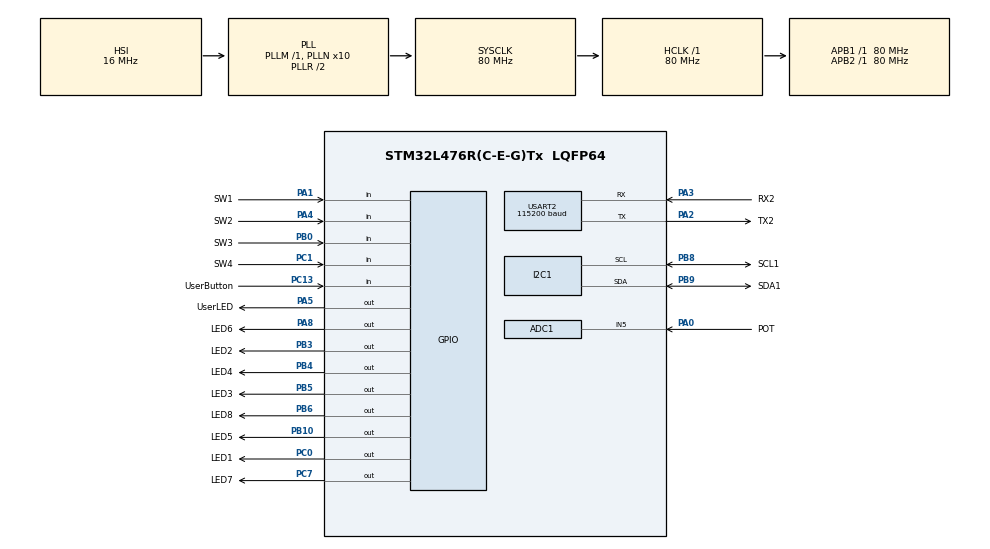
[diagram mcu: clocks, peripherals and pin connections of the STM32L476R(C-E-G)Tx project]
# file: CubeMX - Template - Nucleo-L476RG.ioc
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ADC1.Channel-0\#ChannelRegularConversion=ADC_CHANNEL_5
ADC1.NbrOfConversionFlag=1
ADC1.OffsetNumber-0\#ChannelRegularConversion=ADC_OFFSET_NONE
ADC1.Overrun=ADC_OVR_DATA_OVERWRITTEN
ADC1.Rank-0\#ChannelRegularConversion=1
ADC1.Resolution=ADC_RESOLUTION_12B
ADC1.SamplingTime-0\#ChannelRegularConversion=ADC_SAMPLETIME_2CYCLES_5
ADC1.master=1
I2C1.Analog_Filter=I2C_ANALOGFILTER_ENABLE
I2C1.CustomTiming=Disabled
I2C1.Timing=0x00303D5B
Mcu.Family=STM32L4
Mcu.Name=STM32L476R(C-E-G)Tx
Mcu.Package=LQFP64
NVIC.I2C1_EV_IRQn=true\:0\:0\:false\:false\:true\:true\:true\:true
NVIC.PriorityGroup=NVIC_PRIORITYGROUP_4
PA0.GPIO_Label=POT
PA0.Signal=ADCx_IN5
PA1.GPIO_Label=SW1
PA1.Signal=GPIO_Input
PA13\ (JTMS-SWDIO).GPIO_Label=TMS
PA13\ (JTMS-SWDIO).Mode=Serial_Wire
PA13\ (JTMS-SWDIO).Signal=SYS_JTMS-SWDIO
PA14\ (JTCK-SWCLK).GPIO_Label=TCK
PA14\ (JTCK-SWCLK).Mode=Serial_Wire
PA14\ (JTCK-SWCLK).Signal=SYS_JTCK-SWCLK
PA2.GPIO_Label=TX2
PA2.GPIO_Mode=GPIO_MODE_AF_PP
PA2.GPIO_PuPd=GPIO_NOPULL
PA2.GPIO_Speed=GPIO_SPEED_FREQ_VERY_HIGH
PA2.Mode=Asynchronous
PA2.Signal=USART2_TX
PA3.GPIO_Label=RX2
PA3.GPIO_Mode=GPIO_MODE_AF_PP
PA3.GPIO_PuPd=GPIO_NOPULL
PA3.GPIO_Speed=GPIO_SPEED_FREQ_VERY_HIGH
PA3.Mode=Asynchronous
PA3.Signal=USART2_RX
PA4.GPIO_Label=SW2
PA4.Signal=GPIO_Input
PA5.GPIO_Label=UserLED
PA5.GPIO_ModeDefaultOutputPP=GPIO_MODE_OUTPUT_PP
PA5.GPIO_PuPd=GPIO_NOPULL
PA5.GPIO_Speed=GPIO_SPEED_FREQ_LOW
PA5.Signal=GPIO_Output
PA8.GPIO_Label=LED6
PA8.Signal=GPIO_Output
PB0.GPIO_Label=SW3
PB0.Signal=GPIO_Input
PB10.GPIO_Label=LED5
PB10.Signal=GPIO_Output
PB3\ (JTDO-TRACESWO).GPIO_Label=LED2
PB3\ (JTDO-TRACESWO).Signal=GPIO_Output
PB4\ (NJTRST).GPIO_Label=LED4
PB4\ (NJTRST).Signal=GPIO_Output
PB5.GPIO_Label=LED3
PB5.Signal=GPIO_Output
PB6.GPIO_Label=LED8
PB6.Signal=GPIO_Output
PB8.GPIO_Label=SCL1
PB8.Mode=I2C
PB8.Signal=I2C1_SCL
PB9.GPIO_Label=SDA1
PB9.Mode=I2C
PB9.Signal=I2C1_SDA
PC0.GPIO_Label=LED1
PC0.Signal=GPIO_Output
PC1.GPIO_Label=SW4
PC1.Signal=GPIO_Input
PC13.GPIO_Label=UserButton
PC13.Signal=GPIO_Input
PC7.GPIO_Label=LED7
PC7.Signal=GPIO_Output
ProjectManager.HeapSize=0x200
ProjectManager.StackSize=0x400
ProjectManager.TargetToolchain=MDK-ARM V5.32
RCC.ADCFreq_Value=64000000
RCC.AHBFreq_Value=80000000
RCC.APB1Freq_Value=80000000
RCC.APB1TimFreq_Value=80000000
RCC.APB2Freq_Value=80000000
RCC.APB2TimFreq_Value=80000000
RCC.CortexFreq_Value=80000000
RCC.HCLKFreq_Value=80000000
RCC.HSE_VALUE=8000000
RCC.HSI_VALUE=16000000
RCC.I2C1CLockSelection=RCC_I2C1CLKSOURCE_HSI
RCC.LSE_VALUE=32768
RCC.MSI_VALUE=4000000
RCC.PLLN=10
RCC.PLLSourceVirtual=RCC_PLLSOURCE_HSI
RCC.PREFETCH_ENABLE=1
RCC.SYSCLKFreq_VALUE=80000000
RCC.SYSCLKSource=RCC_SYSCLKSOURCE_PLLCLK
RCC.USBFreq_Value=64000000
RCC.VCOOutputFreq_Value=160000000
SH.ADCx_IN5.0=ADC1_IN5,IN5-Single-Ended
USART2.BaudRate=115200
USART2.OverrunDisableParam=ADVFEATURE_OVERRUN_DISABLE
USART2.VirtualMode-Asynchronous=VM_ASYNC
board=NUCLEO-L476RG

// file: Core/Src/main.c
/* USER CODE BEGIN Header */
/**
  ******************************************************************************
  * @file           : main.c
  * @brief          : Main program body
  ******************************************************************************
  * @attention
  *
  * Copyright (c) 2023 STMicroelectronics.
  * All rights reserved.
  *
  * This software is licensed under terms that can be found in the LICENSE file
  * in the root directory of this software component.
  * If no LICENSE file comes with this software, it is provided AS-IS.
  *
  ******************************************************************************
  */
	// Versie: 20252026
/* USER CODE END Header */
#include "main.h"

/* USER CODE BEGIN Includes */
#include "leds.h"
#include "buttons.h"
#include "usart2.h"
#include "ad.h"
#include "stdio.h"
#include "mpu9250.h"
/* USER CODE END Includes */

ADC_HandleTypeDef hadc1;

I2C_HandleTypeDef hi2c1;

UART_HandleTypeDef huart2;

/* USER CODE BEGIN PV */
static volatile bool dmaCompleted = false;
static Mpu9250 sensordata;
volatile uint8_t i2cDataGyroAcc[GYRO_ACC_NUMBER_OF_BYTES_TO_RECEIVE];
volatile uint8_t i2cDataMagn[MAGN_NUMBER_OF_BYTES_TO_RECEIVE];
/* USER CODE END PV */

void SystemClock_Config(void);
static void MX_GPIO_Init(void);
static void MX_ADC1_Init(void);
static void MX_USART2_UART_Init(void);
static void MX_I2C1_Init(void);

int main(void)
{

  /* MCU Configuration--------------------------------------------------------*/

  /* Reset of all peripherals, Initializes the Flash interface and the Systick. */
  HAL_Init();

  /* Configure the system clock */
  SystemClock_Config();

  /* Initialize all configured peripherals */
  MX_GPIO_Init();
  MX_ADC1_Init();
  MX_USART2_UART_Init();
  MX_I2C1_Init();
  /* USER CODE BEGIN 2 */
	// IMU initialiseren.
	InitMpu9250(&hi2c1);

	// Laten weten dat we opgestart zijn, via de USART2 (USB).
	printf("Reboot\r\n");

	// MERK OP: om met HAL I�C en DMA te kunnen werken, moet in STM32CubeMX 'I2C1 event interrupt' aangevinkt staan!
	// Anders wordt HAL_I2C_MasterRxCpltCallback() niet opgeroepen.

	// Who am I opvragen via polling.
	printf("MPU9250 who am I: %d.\r\n", WhoAmIMpu9250(&hi2c1));

	// Magnetometer device ID opvragen via polling.
	printf("Magnetometer device ID: %d.\r\n", ReadIdAK8963(&hi2c1));

  /* USER CODE END 2 */

  /* Infinite loop */
  /* USER CODE BEGIN WHILE */
  while (1)
  {
		// Accelerometer, gyroscoop en magnetometer uitlezen via polling.
		sensordata = ReadMpu9250(&hi2c1);

		// JSON dumpen op UART2.
		printf("{\"accx\":%d,\"accy\":%d,\"accz\":%d,\"gyrox\":%d,\"gyroy\":%d,\"gyroz\":%d,"
								"\"magnx\":%d,\"magny\":%d,\"magnz\":%d}\r\n",
						sensordata.accX, sensordata.accY, sensordata.accZ, sensordata.gyroX, sensordata.gyroY,
							sensordata.gyroZ, sensordata.magnX, sensordata.magnY, sensordata.magnZ);

		// Teken van leven geven.
		ToggleLed(8);

		// Even wachten. Uitlezen van de I�C-bus duurt ongeveer 2,5ms (2 + 14 + 2 + 7 bytes).
		HAL_Delay(20);

    /* USER CODE END WHILE */

  }
}

void SystemClock_Config(void)
{
  RCC_OscInitTypeDef RCC_OscInitStruct = {0};
  RCC_ClkInitTypeDef RCC_ClkInitStruct = {0};

  /** Configure the main internal regulator output voltage
  */
  if (HAL_PWREx_ControlVoltageScaling(PWR_REGULATOR_VOLTAGE_SCALE1) != HAL_OK)
  {
    Error_Handler();
  }

  /** Initializes the RCC Oscillators according to the specified parameters
  * in the RCC_OscInitTypeDef structure.
  */
  RCC_OscInitStruct.OscillatorType = RCC_OSCILLATORTYPE_HSI;
  RCC_OscInitStruct.HSIState = RCC_HSI_ON;
  RCC_OscInitStruct.HSICalibrationValue = RCC_HSICALIBRATION_DEFAULT;
  RCC_OscInitStruct.PLL.PLLState = RCC_PLL_ON;
  RCC_OscInitStruct.PLL.PLLSource = RCC_PLLSOURCE_HSI;
  RCC_OscInitStruct.PLL.PLLM = 1;
  RCC_OscInitStruct.PLL.PLLN = 10;
  RCC_OscInitStruct.PLL.PLLP = RCC_PLLP_DIV7;
  RCC_OscInitStruct.PLL.PLLQ = RCC_PLLQ_DIV2;
  RCC_OscInitStruct.PLL.PLLR = RCC_PLLR_DIV2;
  if (HAL_RCC_OscConfig(&RCC_OscInitStruct) != HAL_OK)
  {
    Error_Handler();
  }

  /** Initializes the CPU, AHB and APB buses clocks
  */
  RCC_ClkInitStruct.ClockType = RCC_CLOCKTYPE_HCLK|RCC_CLOCKTYPE_SYSCLK
                              |RCC_CLOCKTYPE_PCLK1|RCC_CLOCKTYPE_PCLK2;
  RCC_ClkInitStruct.SYSCLKSource = RCC_SYSCLKSOURCE_PLLCLK;
  RCC_ClkInitStruct.AHBCLKDivider = RCC_SYSCLK_DIV1;
  RCC_ClkInitStruct.APB1CLKDivider = RCC_HCLK_DIV1;
  RCC_ClkInitStruct.APB2CLKDivider = RCC_HCLK_DIV1;

  if (HAL_RCC_ClockConfig(&RCC_ClkInitStruct, FLASH_LATENCY_4) != HAL_OK)
  {
    Error_Handler();
  }
}

static void MX_ADC1_Init(void)
{

  ADC_MultiModeTypeDef multimode = {0};
  ADC_ChannelConfTypeDef sConfig = {0};

  /** Common config
  */
  hadc1.Instance = ADC1;
  hadc1.Init.ClockPrescaler = ADC_CLOCK_ASYNC_DIV1;
  hadc1.Init.Resolution = ADC_RESOLUTION_12B;
  hadc1.Init.DataAlign = ADC_DATAALIGN_RIGHT;
  hadc1.Init.ScanConvMode = ADC_SCAN_DISABLE;
  hadc1.Init.EOCSelection = ADC_EOC_SINGLE_CONV;
  hadc1.Init.LowPowerAutoWait = DISABLE;
  hadc1.Init.ContinuousConvMode = DISABLE;
  hadc1.Init.NbrOfConversion = 1;
  hadc1.Init.DiscontinuousConvMode = DISABLE;
  hadc1.Init.ExternalTrigConv = ADC_SOFTWARE_START;
  hadc1.Init.ExternalTrigConvEdge = ADC_EXTERNALTRIGCONVEDGE_NONE;
  hadc1.Init.DMAContinuousRequests = DISABLE;
  hadc1.Init.Overrun = ADC_OVR_DATA_OVERWRITTEN;
  hadc1.Init.OversamplingMode = DISABLE;
  if (HAL_ADC_Init(&hadc1) != HAL_OK)
  {
    Error_Handler();
  }

  /** Configure the ADC multi-mode
  */
  multimode.Mode = ADC_MODE_INDEPENDENT;
  if (HAL_ADCEx_MultiModeConfigChannel(&hadc1, &multimode) != HAL_OK)
  {
    Error_Handler();
  }

  /** Configure Regular Channel
  */
  sConfig.Channel = ADC_CHANNEL_5;
  sConfig.Rank = ADC_REGULAR_RANK_1;
  sConfig.SamplingTime = ADC_SAMPLETIME_2CYCLES_5;
  sConfig.SingleDiff = ADC_SINGLE_ENDED;
  sConfig.OffsetNumber = ADC_OFFSET_NONE;
  sConfig.Offset = 0;
  if (HAL_ADC_ConfigChannel(&hadc1, &sConfig) != HAL_OK)
  {
    Error_Handler();
  }

}

static void MX_I2C1_Init(void)
{

  hi2c1.Instance = I2C1;
  hi2c1.Init.Timing = 0x00303D5B;
  hi2c1.Init.OwnAddress1 = 0;
  hi2c1.Init.AddressingMode = I2C_ADDRESSINGMODE_7BIT;
  hi2c1.Init.DualAddressMode = I2C_DUALADDRESS_DISABLE;
  hi2c1.Init.OwnAddress2 = 0;
  hi2c1.Init.OwnAddress2Masks = I2C_OA2_NOMASK;
  hi2c1.Init.GeneralCallMode = I2C_GENERALCALL_DISABLE;
  hi2c1.Init.NoStretchMode = I2C_NOSTRETCH_DISABLE;
  if (HAL_I2C_Init(&hi2c1) != HAL_OK)
  {
    Error_Handler();
  }

  /** Configure Analogue filter
  */
  if (HAL_I2CEx_ConfigAnalogFilter(&hi2c1, I2C_ANALOGFILTER_ENABLE) != HAL_OK)
  {
    Error_Handler();
  }

  /** Configure Digital filter
  */
  if (HAL_I2CEx_ConfigDigitalFilter(&hi2c1, 0) != HAL_OK)
  {
    Error_Handler();
  }

}

static void MX_USART2_UART_Init(void)
{

  huart2.Instance = USART2;
  huart2.Init.BaudRate = 115200;
  huart2.Init.WordLength = UART_WORDLENGTH_8B;
  huart2.Init.StopBits = UART_STOPBITS_1;
  huart2.Init.Parity = UART_PARITY_NONE;
  huart2.Init.Mode = UART_MODE_TX_RX;
  huart2.Init.HwFlowCtl = UART_HWCONTROL_NONE;
  huart2.Init.OverSampling = UART_OVERSAMPLING_16;
  huart2.Init.OneBitSampling = UART_ONE_BIT_SAMPLE_DISABLE;
  huart2.AdvancedInit.AdvFeatureInit = UART_ADVFEATURE_RXOVERRUNDISABLE_INIT;
  huart2.AdvancedInit.OverrunDisable = UART_ADVFEATURE_OVERRUN_DISABLE;
  if (HAL_UART_Init(&huart2) != HAL_OK)
  {
    Error_Handler();
  }

}

static void MX_GPIO_Init(void)
{
  GPIO_InitTypeDef GPIO_InitStruct = {0};

  /* GPIO Ports Clock Enable */
  __HAL_RCC_GPIOC_CLK_ENABLE();
  __HAL_RCC_GPIOA_CLK_ENABLE();
  __HAL_RCC_GPIOB_CLK_ENABLE();

  /*Configure GPIO pin Output Level */
  HAL_GPIO_WritePin(GPIOC, LED1_Pin|LED7_Pin, GPIO_PIN_RESET);

  /*Configure GPIO pin Output Level */
  HAL_GPIO_WritePin(GPIOA, UserLED_Pin|LED6_Pin, GPIO_PIN_RESET);

  /*Configure GPIO pin Output Level */
  HAL_GPIO_WritePin(GPIOB, LED5_Pin|LED2_Pin|LED4_Pin|LED3_Pin
                          |LED8_Pin, GPIO_PIN_RESET);

  /*Configure GPIO pins : UserButton_Pin SW4_Pin */
  GPIO_InitStruct.Pin = UserButton_Pin|SW4_Pin;
  GPIO_InitStruct.Mode = GPIO_MODE_INPUT;
  GPIO_InitStruct.Pull = GPIO_NOPULL;
  HAL_GPIO_Init(GPIOC, &GPIO_InitStruct);

  /*Configure GPIO pins : LED1_Pin LED7_Pin */
  GPIO_InitStruct.Pin = LED1_Pin|LED7_Pin;
  GPIO_InitStruct.Mode = GPIO_MODE_OUTPUT_PP;
  GPIO_InitStruct.Pull = GPIO_NOPULL;
  GPIO_InitStruct.Speed = GPIO_SPEED_FREQ_LOW;
  HAL_GPIO_Init(GPIOC, &GPIO_InitStruct);

  /*Configure GPIO pins : SW1_Pin SW2_Pin */
  GPIO_InitStruct.Pin = SW1_Pin|SW2_Pin;
  GPIO_InitStruct.Mode = GPIO_MODE_INPUT;
  GPIO_InitStruct.Pull = GPIO_NOPULL;
  HAL_GPIO_Init(GPIOA, &GPIO_InitStruct);

  /*Configure GPIO pins : UserLED_Pin LED6_Pin */
  GPIO_InitStruct.Pin = UserLED_Pin|LED6_Pin;
  GPIO_InitStruct.Mode = GPIO_MODE_OUTPUT_PP;
  GPIO_InitStruct.Pull = GPIO_NOPULL;
  GPIO_InitStruct.Speed = GPIO_SPEED_FREQ_LOW;
  HAL_GPIO_Init(GPIOA, &GPIO_InitStruct);

  /*Configure GPIO pin : SW3_Pin */
  GPIO_InitStruct.Pin = SW3_Pin;
  GPIO_InitStruct.Mode = GPIO_MODE_INPUT;
  GPIO_InitStruct.Pull = GPIO_NOPULL;
  HAL_GPIO_Init(SW3_GPIO_Port, &GPIO_InitStruct);

  /*Configure GPIO pins : LED5_Pin LED2_Pin LED4_Pin LED3_Pin
                           LED8_Pin */
  GPIO_InitStruct.Pin = LED5_Pin|LED2_Pin|LED4_Pin|LED3_Pin
                          |LED8_Pin;
  GPIO_InitStruct.Mode = GPIO_MODE_OUTPUT_PP;
  GPIO_InitStruct.Pull = GPIO_NOPULL;
  GPIO_InitStruct.Speed = GPIO_SPEED_FREQ_LOW;
  HAL_GPIO_Init(GPIOB, &GPIO_InitStruct);

}

void Error_Handler(void)
{
  __disable_irq();
  while (1)
  {
  }
}
#ifdef USE_FULL_ASSERT
/**
  * @brief  Reports the name of the source file and the source line number
  *         where the assert_param error has occurred.
  * @param  file: pointer to the source file name
  * @param  line: assert_param error line source number
  * @retval None
  */
void assert_failed(uint8_t *file, uint32_t line)
{
  /* USER CODE BEGIN 6 */
  /* User can add his own implementation to report the file name and line number,
     ex: printf("Wrong parameters value: file %s on line %d\r\n", file, line) */
// Versie: 20252026
  /* USER CODE END 6 */
}
#endif /* USE_FULL_ASSERT */
